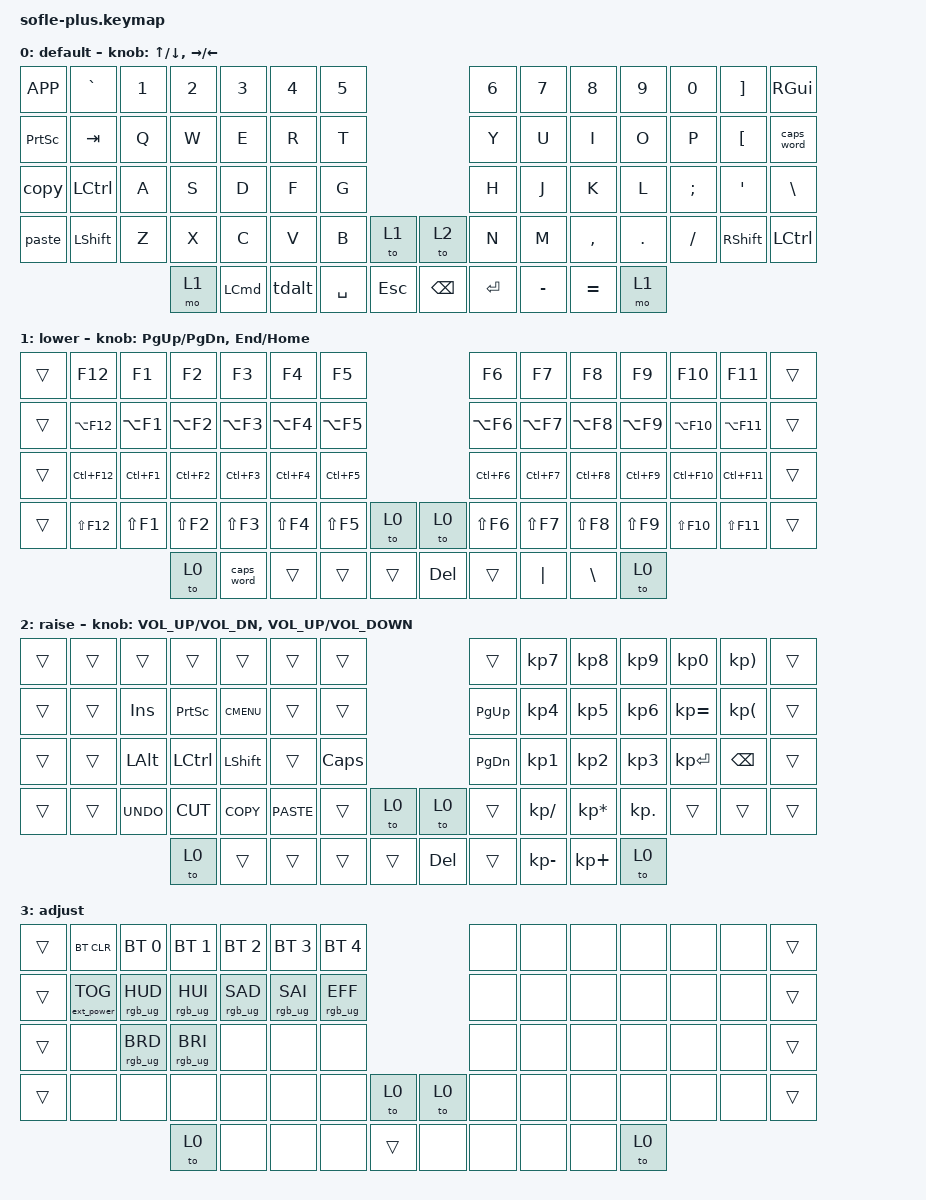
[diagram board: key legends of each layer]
/*
 * Copyright (c) 2020 The ZMK Contributors
 *
 * SPDX-License-Identifier: MIT
 */

#include <behaviors.dtsi>
#include <dt-bindings/zmk/bt.h>
#include <dt-bindings/zmk/ext_power.h>
#include <dt-bindings/zmk/keys.h>
#include <dt-bindings/zmk/rgb.h>

#define BASE 0
#define LOWER 1
#define RAISE 2
#define ADJUST 3

/ {
    // Activate ADJUST layer by pressing raise and lower

    conditional_layers { compatible = "zmk,conditional-layers"; };

    macros {
        say_hi: say_hi {
            compatible = "zmk,behavior-macro";
            #binding-cells = <0>;
            bindings = <&kp H &kp I>;
            label = "SAY_HI";
        };

        copy: copy {
            compatible = "zmk,behavior-macro";
            #binding-cells = <0>;
            bindings = <&kp LC(INS)>;
            label = "COPY";
        };

        paste: paste {
            compatible = "zmk,behavior-macro";
            #binding-cells = <0>;
            bindings = <&kp LS(INS)>;
            label = "PASTE";
        };
    };

    behaviors {
        tdalt: tdalt {
            compatible = "zmk,behavior-tap-dance";
            label = "TDALT";
            #binding-cells = <0>;
            bindings = <&kp LEFT_ALT>, <&kp LEFT_ALT>, <&kp RIGHT_ALT>;
        };
    };

    combos {
        compatible = "zmk,combos";

        del {
            bindings = <&kp DELETE>;
            key-positions = <63 56>;
        };

        f1 {
            bindings = <&kp F1>;
            key-positions = <1 2>;
        };

        f2 {
            bindings = <&kp F2>;
            key-positions = <1 3>;
        };

        f3 {
            bindings = <&kp F3>;
            key-positions = <1 4>;
        };

        f4 {
            bindings = <&kp F4>;
            key-positions = <1 5>;
        };

        f5 {
            bindings = <&kp F5>;
            key-positions = <1 6>;
        };

        f6 {
            bindings = <&kp F6>;
            key-positions = <12 7>;
        };

        f7 {
            bindings = <&kp F7>;
            key-positions = <12 8>;
        };

        f8 {
            bindings = <&kp F8>;
            key-positions = <12 9>;
        };

        f9 {
            bindings = <&kp F9>;
            key-positions = <12 10>;
        };

        f10 {
            bindings = <&kp F10>;
            key-positions = <12 11>;
        };

        tolayer2 {
            bindings = <&to 2>;
            key-positions = <58 67>;
        };

        tolayer3 {
            bindings = <&to 3>;
            key-positions = <49 50>;
        };
    };

    keymap {
        compatible = "zmk,keymap";

        default_layer {
            display-name = "default";
            bindings = <
&kp K_APP        &kp GRAVE  &kp N1  &kp N2  &kp N3    &kp N4  &kp N5                             &kp N6     &kp N7     &kp N8     &kp N9   &kp N0    &kp RIGHT_BRACKET  &kp RIGHT_GUI
&kp PRINTSCREEN  &kp TAB    &kp Q   &kp W   &kp E     &kp R   &kp T                              &kp Y      &kp U      &kp I      &kp O    &kp P     &kp LEFT_BRACKET   &caps_word
&copy            &kp LCTRL  &kp A   &kp S   &kp D     &kp F   &kp G                              &kp H      &kp J      &kp K      &kp L    &kp SEMI  &kp SQT            &kp BACKSLASH
&paste           &kp LSHFT  &kp Z   &kp X   &kp C     &kp V   &kp B      &to 1    &to 2          &kp N      &kp M      &kp COMMA  &kp DOT  &kp FSLH  &kp RIGHT_SHIFT    &kp LEFT_CONTROL
                                    &mo 1   &kp LCMD  &tdalt  &kp SPACE  &kp ESC  &kp BACKSPACE  &kp ENTER  &kp MINUS  &kp EQUAL  &mo 1
            >;

            sensor-bindings =
                <&inc_dec_kp UP_ARROW DOWN_ARROW>,
                <&inc_dec_kp RIGHT_ARROW LEFT_ARROW>;
        };

        lower_layer {
            display-name = "lower";
            bindings = <
&trans  &kp F12      &kp F1      &kp F2      &kp F3      &kp F4      &kp F5                          &kp F6      &kp F7      &kp F8         &kp F9      &kp F10      &kp F11      &trans
&trans  &kp LA(F12)  &kp LA(F1)  &kp LA(F2)  &kp LA(F3)  &kp LA(F4)  &kp LA(F5)                      &kp LA(F6)  &kp LA(F7)  &kp LA(F8)     &kp LA(F9)  &kp LA(F10)  &kp LA(F11)  &trans
&trans  &kp LC(F12)  &kp LC(F1)  &kp LC(F2)  &kp LC(F3)  &kp LC(F4)  &kp LC(F5)                      &kp LC(F6)  &kp LC(F7)  &kp LC(F8)     &kp LC(F9)  &kp LC(F10)  &kp LC(F11)  &trans
&trans  &kp LS(F12)  &kp LS(F1)  &kp LS(F2)  &kp LS(F3)  &kp LS(F4)  &kp LS(F5)  &to 0   &to 0       &kp LS(F6)  &kp LS(F7)  &kp LS(F8)     &kp LS(F9)  &kp LS(F10)  &kp LS(F11)  &trans
                                 &to 0       &caps_word  &trans      &trans      &trans  &kp DELETE  &trans      &kp PIPE    &kp BACKSLASH  &to 0
            >;

            sensor-bindings =
                <&inc_dec_kp PAGE_UP PAGE_DOWN>,
                <&inc_dec_kp END HOME>;
        };

        raise_layer {
            display-name = "raise";
            bindings = <
&trans  &trans  &trans      &trans     &trans       &trans       &trans                     &trans     &kp KP_NUMBER_7  &kp KP_NUMBER_8  &kp KP_NUMBER_9  &kp KP_NUMBER_0  &kp KP_RPAR  &trans
&trans  &trans  &kp INS     &kp PSCRN  &kp K_CMENU  &trans       &trans                     &kp PG_UP  &kp KP_NUMBER_4  &kp KP_NUMBER_5  &kp KP_NUMBER_6  &kp KP_EQUAL     &kp KP_LPAR  &trans
&trans  &trans  &kp LALT    &kp LCTRL  &kp LSHFT    &trans       &kp CLCK                   &kp PG_DN  &kp KP_NUMBER_1  &kp KP_NUMBER_2  &kp KP_NUMBER_3  &kp KP_ENTER     &kp BSPC     &trans
&trans  &trans  &kp K_UNDO  &kp K_CUT  &kp K_COPY   &kp K_PASTE  &trans    &to 0   &to 0    &trans     &kp KP_DIVIDE    &kp KP_MULTIPLY  &kp KP_DOT       &trans           &trans       &trans
                            &to 0      &trans       &trans       &trans    &trans  &kp DEL  &trans     &kp KP_MINUS     &kp KP_PLUS      &to 0
            >;

            sensor-bindings =
                <&inc_dec_kp C_VOL_UP C_VOL_DN>,
                <&inc_dec_kp C_VOLUME_UP C_VOLUME_DOWN>;
        };

        adjust_layer {
            display-name = "adjust";
            bindings = <
&trans  &bt BT_CLR         &bt BT_SEL 0     &bt BT_SEL 1     &bt BT_SEL 2     &bt BT_SEL 3     &bt BT_SEL 4                    &none  &none  &none  &none  &none  &none  &trans
&trans  &ext_power EP_TOG  &rgb_ug RGB_HUD  &rgb_ug RGB_HUI  &rgb_ug RGB_SAD  &rgb_ug RGB_SAI  &rgb_ug RGB_EFF                 &none  &none  &none  &none  &none  &none  &trans
&trans  &none              &rgb_ug RGB_BRD  &rgb_ug RGB_BRI  &none            &none            &none                           &none  &none  &none  &none  &none  &none  &trans
&trans  &none              &none            &none            &none            &none            &none            &to 0   &to 0  &none  &none  &none  &none  &none  &none  &trans
                                            &to 0            &none            &none            &none            &trans  &none  &none  &none  &none  &to 0
            >;
        };
    };
};
